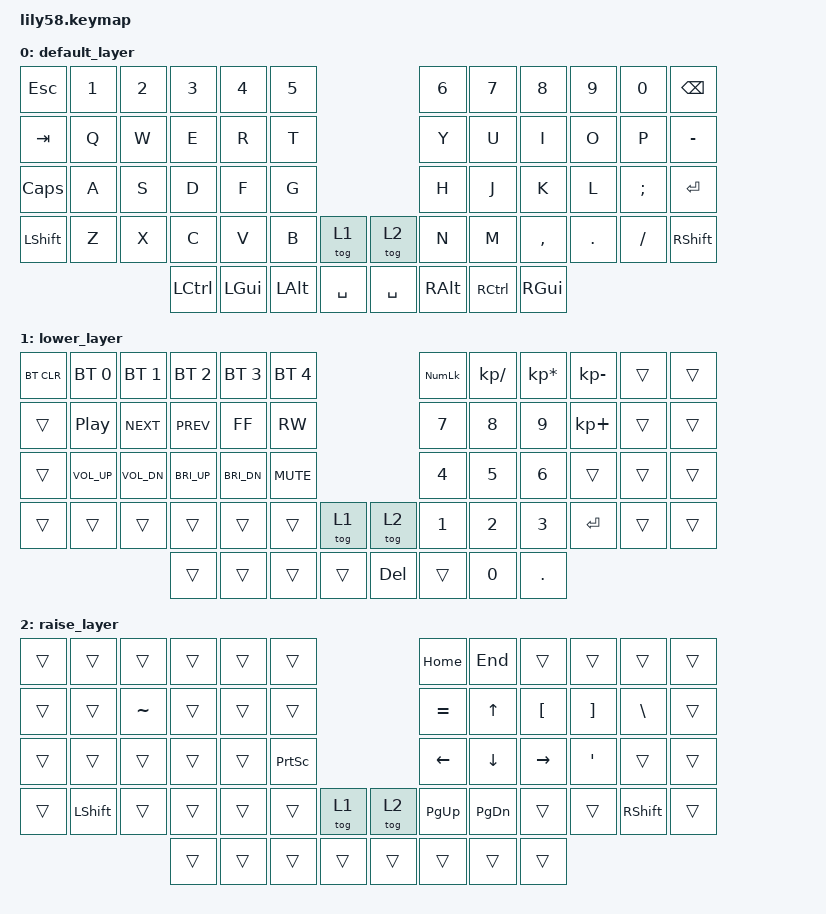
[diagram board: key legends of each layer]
/*
 * Copyright (c) 2020 The ZMK Contributors
 *
 * SPDX-License-Identifier: MIT
 */

#include <behaviors.dtsi>
#include <dt-bindings/zmk/keys.h>
#include <dt-bindings/zmk/bt.h>
#include <dt-bindings/zmk/ext_power.h>

/ {
    keymap {
        compatible = "zmk,keymap";

        default_layer {
// ------------------------------------------------------------------------------------------------------------
// |  ESC  |  1  |  2  |  3   |  4   |  5   |                   |  6   |  7    |  8    |  9   |   0   | BSPC  |
// |  TAB  |  Q  |  W  |  E   |  R   |  T   |                   |  Y   |  U    |  I    |  O   |   P   | - _   |
// | CAPS  |  A  |  S  |  D   |  F   |  G   |                   |  H   |  J    |  K    |  L   |   ;   | ENTER |
// | SHIFT |  Z  |  X  |  C   |  V   |  B   |  LOWER |  | RAISE |  N   |  M    |  ,    |  .   |   /   | SHIFT |
//                     |LCTRL | GUI  |LALT  |  SPACE |  | SPACE | RALT | RCTRL | GUI   |
            bindings = <
&kp ESC   &kp N1 &kp N2 &kp N3    &kp N4   &kp N5                         &kp N6    &kp N7    &kp N8    &kp N9  &kp N0   &kp BSPC 
&kp TAB   &kp Q  &kp W  &kp E     &kp R    &kp T                          &kp Y     &kp U     &kp I     &kp O   &kp P    &kp MINUS 
&kp CAPS  &kp A  &kp S  &kp D     &kp F    &kp G                          &kp H     &kp J     &kp K     &kp L   &kp SEMI &kp ENTER
&kp LSHFT &kp Z  &kp X  &kp C     &kp V    &kp B    &tog 1     &tog 2     &kp N     &kp M     &kp COMMA &kp DOT &kp FSLH &kp RSHFT
                        &kp LCTRL &kp LGUI &kp LALT &kp SPACE  &kp SPACE  &kp RALT  &kp RCTRL &kp RGUI
            >;
        };

        lower_layer {
// ------------------------------------------------------------------------------------------------------------
// | BTCLR | BT1 | BT2 |  BT3 |  BT4 |  BT5 |                   | NUM  | DIV   | MUL   | MIN  |       |       |
// |       |     |     |      |      |      |                   | KP7  | KP8   | KP9   |  KP+ |       |       |
// |       | VUP | VDN | BRUP | BRDN | VMU  |                   | KP4  | KP5   | KP6   |      |       |       |
// |       |PlPa |NEXT |PREV  | FF   | ReW  | LOWER  |  | RAISE | KP1  | KP2   | KP3   |ENTER |       |       |
//                     |      |      |      |        |  | DEL   |      | KP0   | KP.   |
            bindings = <
&bt BT_CLR &bt BT_SEL 0  &bt BT_SEL 1  &bt BT_SEL 2  &bt BT_SEL 3 &bt BT_SEL 4                       &kp KP_NUM &kp KP_SLASH &kp KP_MULTIPLY &kp KP_MINUS  &trans  &trans
&trans     &kp C_PP      &kp C_NEXT    &kp C_PREV    &kp C_FF     &kp C_RW                           &kp N7     &kp N8    &kp N9       &kp KP_PLUS   &trans   &trans
&trans     &kp C_VOL_UP  &kp C_VOL_DN  &kp C_BRI_UP  &kp C_BRI_DN &kp C_MUTE                         &kp N4     &kp N5    &kp N6       &trans        &trans   &trans
&trans     &trans        &trans        &trans        &trans       &trans        &tog 1   &tog 2      &kp N1     &kp N2    &kp N3       &kp ENTER     &trans   &trans
                                       &trans        &trans       &trans        &trans   &kp DELETE  &trans     &kp N0    &kp DOT
            >;
        };

        raise_layer {
// ------------------------------------------------------------------------------------------------------------
// |       |     |     |      |      |      |                   | HOME |  END  |       |      |       |       |
// |       |     |  ~  |      |      |      |                   | = +  |  up   | [ {   | ] }  |   \   |       |
// |       |     |     |      |      | PSCR |                   | left |  dwn  | right | ' "  |       |       |
// |       |SHIFT|     |      |      |      |  LOWER |  | RAISE | PUP  |  PDN  |       |      | SHIFT |       |
//                     |      |      |      |        |  |       |      |       |       |
            bindings = <
&trans  &trans     &trans    &trans  &trans  &trans                       &kp HOME   &kp END   &trans    &trans   &trans     &trans
&trans  &trans     &kp TILDE &trans  &trans  &trans                       &kp EQUAL  &kp UP    &kp LBKT  &kp RBKT &kp BSLH   &trans
&trans  &trans     &trans    &trans  &trans  &kp PSCRN                    &kp LEFT   &kp DOWN  &kp RIGHT &kp SQT  &trans     &trans
&trans  &kp LSHFT  &trans    &trans  &trans  &trans     &tog 1   &tog 2   &kp PG_UP  &kp PG_DN &trans    &trans   &kp RSHFT  &trans
                             &trans  &trans  &trans     &trans   &trans   &trans     &trans    &trans
            >;         
        };
    };
};
